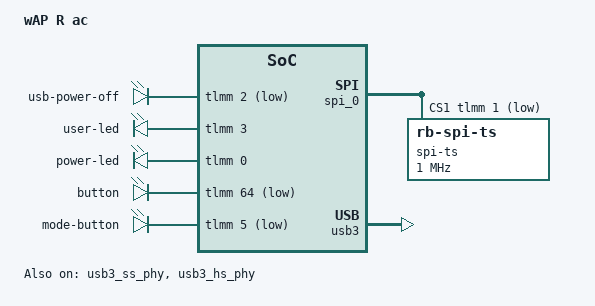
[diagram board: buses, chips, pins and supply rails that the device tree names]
/dts-v1/;
#include "ipq40xx.dtsi"

/ {
	model = "wAP R ac";

	leds {
		compatible = "leds-rb";
		usb-power-off {
			gpios = <&tlmm 2 GPIO_ACTIVE_LOW>;
		};
		user-led {
			gpios = <&tlmm 3 GPIO_ACTIVE_HIGH>;
		};
		power-led {
			gpios = <&tlmm 0 GPIO_ACTIVE_HIGH>;
			default-state = "keep";
		};
		button {
			gpios = <&tlmm 64 GPIO_ACTIVE_LOW>;
			default-state = "input";
		};
		mode-button {
			gpios = <&tlmm 5 GPIO_ACTIVE_LOW>;
			default-state = "input";
		};
	};
};

&edma {
	port_map = <4(-1)>;
};

&tlmm {
	ts_cs_pin: ts_cs_pin_pinmux {
		mux {
			pins = "gpio1";
			function = "gpio";
			bias-disable;
			output-high;
		};
	};
};

&spi_0 {
	num-cs = <2>;
	cs-gpios = <0>, <&tlmm 1 GPIO_ACTIVE_LOW>;

	spi-ts@1 {
		pinctrl-0 = <&ts_cs_pin>;
		pinctrl-names = "default";
		#address-cells = <1>;
		#size-cells = <1>;
		compatible = "rb-spi-ts";
		spi-max-frequency = <1000000>;
		reg = <1>;
	};
};

&usb3 {
	status = "ok";
};

&usb3_ss_phy {
	status = "ok";
};

&usb3_hs_phy {
	status = "ok";
};
